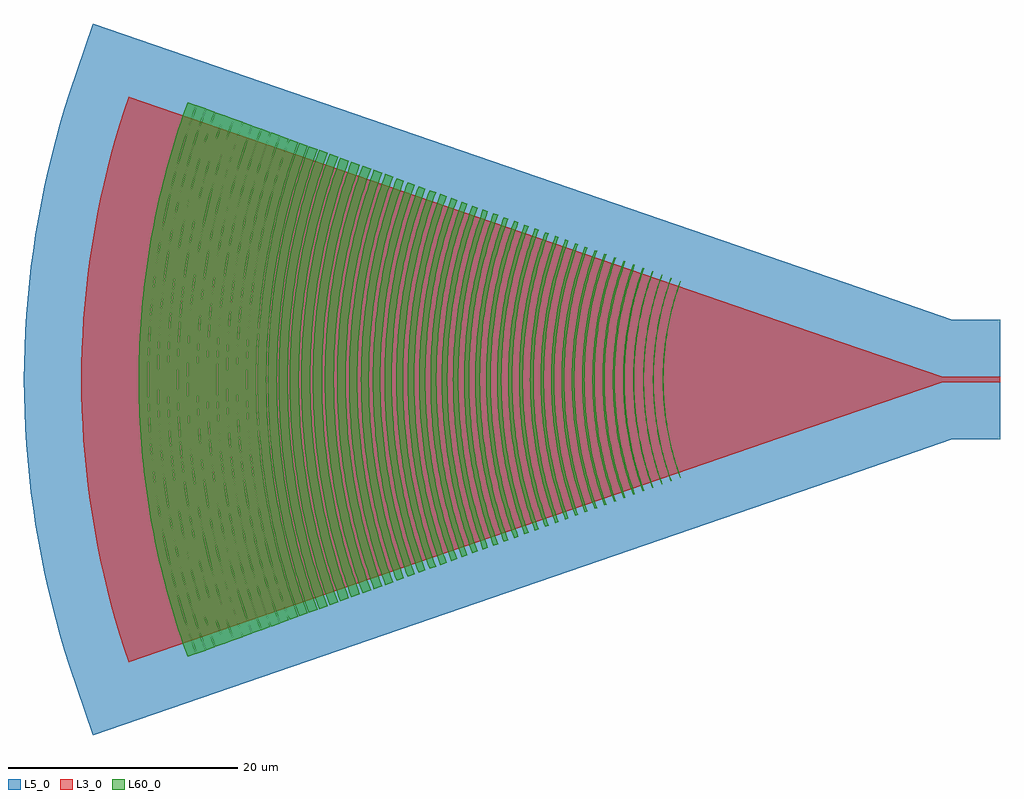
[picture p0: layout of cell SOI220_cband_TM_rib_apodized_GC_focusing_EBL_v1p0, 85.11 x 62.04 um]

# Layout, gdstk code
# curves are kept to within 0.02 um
import gdstk
lib = gdstk.Library(unit=1e-6, precision=1e-09)
def P(c, l, *ps):  # polygons
    for p in ps: c.add(gdstk.Polygon(p, *l))
L3_0 = (3, 0)
L5_0 = (5, 0)
L60_0 = (60, 0)

soi220_cband_tm_rib_apod = lib.new_cell('SOI220_cband_TM_rib_apodized_GC_focusing_EBL_v1p0')
P(soi220_cband_tm_rib_apod, L3_0, [(-75.984,-24.667),(-76.801,-22.152),(-77.53,-19.609),(-78.17,-17.043),(-78.72,-14.457),(-78.961,-13.156),(-79.375,-10.544),(-79.697,-7.92),(-79.824,-6.603),(-80.008,-3.965),(-80.066,-2.644),(-80.112,0),(-80.066,2.644),(-80.008,3.965),(-79.824,6.603),(-79.697,7.92),(-79.375,10.544),(-78.961,13.156),(-78.72,14.457),(-78.17,17.043),(-77.53,19.609),(-76.801,22.152),(-75.984,24.667),(-5,0.225),(0,0.225),(0,-0.225),(-5,-0.225)])
P(soi220_cband_tm_rib_apod, L5_0, [(-79.084,-31.022),(-79.137,-30.996),(-81.16,-24.958),(-81.984,-22.262),(-82.713,-19.539),(-83.042,-18.168),(-83.628,-15.412),(-84.118,-12.635),(-84.327,-11.24),(-84.67,-8.444),(-84.805,-7.038),(-85.001,-4.228),(-85.063,-2.818),(-85.112,0),(-85.063,2.818),(-85.001,4.228),(-84.805,7.038),(-84.67,8.444),(-84.327,11.24),(-84.118,12.635),(-83.628,15.412),(-83.042,18.168),(-82.713,19.539),(-81.984,22.262),(-81.16,24.958),(-79.137,30.996),(-79.084,31.022),(-4.163,5.225),(0,5.225),(0,-5.225),(-4.163,-5.225)])
P(soi220_cband_tm_rib_apod, L60_0, [(-27.895,-8.571),(-28.042,-8.159),(-28.247,-7.536),(-28.437,-6.908),(-28.553,-6.486),(-28.813,-5.424),(-28.947,-4.781),(-29.026,-4.351),(-29.131,-3.704),(-29.221,-3.054),(-29.312,-2.184),(-29.383,-1.093),(-29.407,0),(-29.383,1.093),(-29.312,2.184),(-29.221,3.054),(-29.131,3.704),(-29.026,4.351),(-28.947,4.781),(-28.813,5.424),(-28.553,6.486),(-28.437,6.908),(-28.247,7.536),(-28.042,8.159),(-27.895,8.571),(-27.839,8.551),(-28.055,7.933),(-28.255,7.309),(-28.438,6.681),(-28.604,6.048),(-28.801,5.198),(-29.004,4.126),(-29.161,3.047),(-29.252,2.179),(-29.323,1.09),(-29.347,0),(-29.323,-1.09),(-29.252,-2.179),(-29.161,-3.047),(-29.004,-4.126),(-28.801,-5.198),(-28.604,-6.048),(-28.438,-6.681),(-28.255,-7.309),(-28.055,-7.933),(-27.839,-8.551)],
  [(-28.702,-8.864),(-28.925,-8.224),(-29.064,-7.793),(-29.197,-7.361),(-29.381,-6.707),(-29.65,-5.609),(-29.744,-5.167),(-29.87,-4.5),(-29.945,-4.054),(-30.042,-3.383),(-30.098,-2.934),(-30.166,-2.259),(-30.216,-1.583),(-30.239,-1.131),(-30.255,-0.679),(-30.264,0),(-30.255,0.679),(-30.239,1.131),(-30.216,1.583),(-30.166,2.259),(-30.098,2.934),(-30.042,3.383),(-29.945,4.054),(-29.87,4.5),(-29.744,5.167),(-29.65,5.609),(-29.381,6.707),(-29.197,7.361),(-29.064,7.793),(-28.925,8.224),(-28.702,8.864),(-28.645,8.844),(-28.868,8.205),(-29.074,7.56),(-29.264,6.91),(-29.436,6.255),(-29.685,5.155),(-29.849,4.268),(-29.983,3.375),(-30.106,2.254),(-30.156,1.579),(-30.179,1.128),(-30.195,0.677),(-30.204,0),(-30.195,-0.677),(-30.179,-1.128),(-30.156,-1.579),(-30.106,-2.254),(-29.983,-3.375),(-29.849,-4.268),(-29.685,-5.155),(-29.436,-6.255),(-29.264,-6.91),(-29.074,-7.56),(-28.868,-8.205),(-28.645,-8.844)],
  [(-29.496,-9.153),(-29.726,-8.492),(-29.87,-8.047),(-30.073,-7.377),(-30.197,-6.926),(-30.314,-6.475),(-30.475,-5.792),(-30.572,-5.336),(-30.702,-4.647),(-30.815,-3.956),(-30.88,-3.493),(-30.963,-2.797),(-31.007,-2.332),(-31.044,-1.867),(-31.084,-1.168),(-31.1,-0.701),(-31.109,0),(-31.1,0.701),(-31.084,1.168),(-31.044,1.867),(-31.007,2.332),(-30.963,2.797),(-30.88,3.493),(-30.815,3.956),(-30.702,4.647),(-30.572,5.336),(-30.475,5.792),(-30.314,6.475),(-30.197,6.926),(-30.073,7.377),(-29.87,8.047),(-29.726,8.492),(-29.496,9.153),(-29.439,9.133),(-29.669,8.473),(-29.882,7.807),(-30.078,7.136),(-30.256,6.46),(-30.365,6.007),(-30.513,5.324),(-30.683,4.407),(-30.756,3.947),(-30.85,3.254),(-30.903,2.791),(-30.967,2.095),(-31.024,1.165),(-31.04,0.699),(-31.049,0),(-31.045,-0.466),(-31.024,-1.165),(-30.967,-2.095),(-30.903,-2.791),(-30.85,-3.254),(-30.756,-3.947),(-30.683,-4.407),(-30.513,-5.324),(-30.365,-6.007),(-30.256,-6.46),(-30.078,-7.136),(-29.882,-7.807),(-29.669,-8.473),(-29.439,-9.133)],
  [(-30.317,-9.453),(-30.705,-8.31),(-31.042,-7.153),(-31.329,-5.982),(-31.564,-4.8),(-31.747,-3.607),(-31.879,-2.408),(-31.958,-1.206),(-31.984,0),(-31.958,1.206),(-31.879,2.408),(-31.747,3.607),(-31.564,4.8),(-31.329,5.982),(-31.042,7.153),(-30.705,8.31),(-30.317,9.453),(-30.238,9.424),(-30.625,8.285),(-30.961,7.131),(-31.247,5.964),(-31.394,5.257),(-31.522,4.548),(-31.695,3.358),(-31.815,2.162),(-31.874,1.202),(-31.9,0),(-31.874,-1.202),(-31.815,-2.162),(-31.695,-3.358),(-31.522,-4.548),(-31.394,-5.257),(-31.247,-5.964),(-30.961,-7.131),(-30.625,-8.285),(-30.238,-9.424)],
  [(-31.146,-9.754),(-31.546,-8.576),(-31.895,-7.381),(-32.19,-6.173),(-32.433,-4.952),(-32.622,-3.722),(-32.758,-2.485),(-32.839,-1.244),(-32.866,0),(-32.839,1.244),(-32.758,2.485),(-32.622,3.722),(-32.433,4.952),(-32.19,6.173),(-31.895,7.381),(-31.546,8.576),(-31.146,9.754),(-31.022,9.709),(-31.494,8.3),(-31.83,7.108),(-32.114,5.902),(-32.385,4.441),(-32.552,3.213),(-32.646,2.227),(-32.717,0.991),(-32.734,0),(-32.717,-0.991),(-32.646,-2.227),(-32.552,-3.213),(-32.385,-4.441),(-32.114,-5.902),(-31.83,-7.108),(-31.494,-8.3),(-31.022,-9.709)],
  [(-31.988,-10.06),(-32.477,-8.601),(-32.759,-7.613),(-33.065,-6.367),(-33.315,-5.108),(-33.511,-3.84),(-33.65,-2.564),(-33.734,-1.283),(-33.762,0),(-33.734,1.283),(-33.65,2.564),(-33.511,3.84),(-33.315,5.108),(-33.065,6.367),(-32.759,7.613),(-32.477,8.601),(-31.988,10.06),(-31.832,10.004),(-32.318,8.552),(-32.664,7.323),(-32.957,6.081),(-33.236,4.576),(-33.378,3.565),(-33.506,2.295),(-33.568,1.276),(-33.596,0),(-33.578,-1.021),(-33.506,-2.295),(-33.378,-3.565),(-33.236,-4.576),(-32.957,-6.081),(-32.664,-7.323),(-32.318,-8.552),(-31.832,-10.004)],
  [(-32.829,-10.366),(-33.255,-9.115),(-33.624,-7.845),(-33.939,-6.56),(-34.196,-5.264),(-34.397,-3.956),(-34.541,-2.642),(-34.628,-1.322),(-34.657,0),(-34.628,1.322),(-34.541,2.642),(-34.397,3.956),(-34.196,5.264),(-33.939,6.56),(-33.624,7.845),(-33.255,9.115),(-32.829,10.366),(-32.659,10.305),(-33.16,8.809),(-33.516,7.544),(-33.818,6.264),(-34.105,4.713),(-34.282,3.411),(-34.383,2.364),(-34.458,1.051),(-34.476,0),(-34.458,-1.051),(-34.383,-2.364),(-34.282,-3.411),(-34.105,-4.713),(-33.818,-6.264),(-33.516,-7.544),(-33.16,-8.809),(-32.659,-10.305)],
  [(-33.657,-10.667),(-34.095,-9.379),(-34.475,-8.072),(-34.799,-6.751),(-35.064,-5.416),(-35.271,-4.071),(-35.419,-2.719),(-35.508,-1.361),(-35.538,0),(-35.508,1.361),(-35.419,2.719),(-35.271,4.071),(-35.064,5.416),(-34.799,6.751),(-34.475,8.072),(-34.095,9.379),(-33.657,10.667),(-33.485,10.605),(-33.92,9.324),(-34.367,7.764),(-34.733,6.182),(-34.973,4.851),(-35.156,3.51),(-35.259,2.433),(-35.336,1.082),(-35.355,0),(-35.336,-1.082),(-35.259,-2.433),(-35.156,-3.51),(-34.973,-4.851),(-34.733,-6.182),(-34.367,-7.764),(-33.92,-9.324),(-33.485,-10.605)],
  [(-34.501,-10.974),(-34.951,-9.65),(-35.342,-8.305),(-35.675,-6.946),(-35.949,-5.572),(-36.161,-4.188),(-36.314,-2.797),(-36.406,-1.4),(-36.436,0),(-36.406,1.4),(-36.314,2.797),(-36.161,4.188),(-35.949,5.572),(-35.675,6.946),(-35.342,8.305),(-34.951,9.65),(-34.501,10.974),(-34.311,10.906),(-34.841,9.323),(-35.218,7.984),(-35.594,6.357),(-35.841,4.988),(-36.029,3.61),(-36.136,2.502),(-36.215,1.113),(-36.234,0),(-36.215,-1.113),(-36.136,-2.502),(-36.029,-3.61),(-35.841,-4.988),(-35.594,-6.357),(-35.218,-7.984),(-34.841,-9.323),(-34.311,-10.906)],
  [(-35.347,-11.282),(-35.81,-9.92),(-36.212,-8.538),(-36.554,-7.14),(-36.835,-5.728),(-37.054,-4.307),(-37.21,-2.876),(-37.305,-1.439),(-37.336,0),(-37.305,1.439),(-37.21,2.876),(-37.054,4.307),(-36.835,5.728),(-36.554,7.14),(-36.212,8.538),(-35.81,9.92),(-35.347,11.282),(-35.135,11.206),(-35.595,9.852),(-36.067,8.203),(-36.395,6.812),(-36.708,5.125),(-36.867,3.993),(-37.01,2.571),(-37.08,1.429),(-37.111,0),(-37.08,-1.429),(-37.01,-2.571),(-36.867,-3.993),(-36.708,-5.125),(-36.395,-6.812),(-36.067,-8.203),(-35.595,-9.852),(-35.135,-11.206)],
  [(-36.193,-11.59),(-36.668,-10.19),(-37.081,-8.771),(-37.432,-7.335),(-37.721,-5.885),(-37.946,-4.423),(-38.107,-2.954),(-38.204,-1.479),(-38.236,0),(-38.204,1.479),(-38.107,2.954),(-37.946,4.423),(-37.721,5.885),(-37.432,7.335),(-37.081,8.771),(-36.668,10.19),(-36.193,11.59),(-35.967,11.509),(-36.526,9.838),(-36.924,8.425),(-37.261,6.996),(-37.582,5.264),(-37.78,3.809),(-37.892,2.64),(-37.976,1.174),(-37.996,0),(-37.976,-1.174),(-37.892,-2.64),(-37.78,-3.809),(-37.582,-5.264),(-37.261,-6.996),(-36.924,-8.425),(-36.526,-9.838),(-35.967,-11.509)],
  [(-37.04,-11.897),(-37.527,-10.461),(-37.951,-9.005),(-38.313,-7.529),(-38.608,-6.041),(-38.84,-4.541),(-39.005,-3.032),(-39.104,-1.517),(-39.137,0),(-39.104,1.517),(-39.005,3.032),(-38.84,4.541),(-38.608,6.041),(-38.313,7.529),(-37.951,9.005),(-37.527,10.461),(-37.04,11.897),(-36.794,11.81),(-37.278,10.383),(-37.776,8.645),(-38.183,6.884),(-38.497,5.104),(-38.654,3.909),(-38.77,2.709),(-38.855,1.205),(-38.876,0),(-38.855,-1.205),(-38.77,-2.709),(-38.654,-3.909),(-38.497,-5.104),(-38.183,-6.884),(-37.776,-8.645),(-37.278,-10.383),(-36.794,-11.81)],
  [(-37.903,-12.212),(-38.404,-10.738),(-38.84,-9.243),(-39.21,-7.729),(-39.515,-6.201),(-39.752,-4.661),(-39.921,-3.113),(-40.023,-1.557),(-40.057,0),(-40.023,1.557),(-39.921,3.113),(-39.752,4.661),(-39.515,6.201),(-39.21,7.729),(-38.84,9.243),(-38.404,10.738),(-37.903,12.212),(-37.639,12.117),(-38.136,10.654),(-38.648,8.871),(-39.065,7.063),(-39.387,5.237),(-39.582,3.703),(-39.69,2.471),(-39.754,1.236),(-39.776,0),(-39.754,-1.236),(-39.69,-2.471),(-39.582,-3.703),(-39.387,-5.237),(-39.065,-7.063),(-38.648,-8.871),(-38.136,-10.654),(-37.639,-12.117)],
  [(-38.778,-12.53),(-39.292,-11.018),(-39.738,-9.483),(-40.119,-7.93),(-40.43,-6.362),(-40.673,-4.783),(-40.848,-3.193),(-40.952,-1.599),(-40.987,0),(-40.952,1.599),(-40.848,3.193),(-40.673,4.783),(-40.43,6.362),(-40.119,7.93),(-39.738,9.483),(-39.292,11.018),(-38.778,12.53),(-38.485,12.425),(-39.089,10.622),(-39.597,8.789),(-40.009,6.932),(-40.277,5.37),(-40.477,3.797),(-40.588,2.534),(-40.654,1.268),(-40.676,0),(-40.654,-1.268),(-40.588,-2.534),(-40.477,-3.797),(-40.277,-5.37),(-40.009,-6.932),(-39.597,-8.789),(-39.089,-10.622),(-38.485,-12.425)],
  [(-39.669,-12.855),(-40.196,-11.303),(-40.654,-9.728),(-41.044,-8.136),(-41.364,-6.527),(-41.613,-4.906),(-41.792,-3.276),(-41.9,-1.639),(-41.935,0),(-41.9,1.639),(-41.792,3.276),(-41.613,4.906),(-41.364,6.527),(-41.044,8.136),(-40.654,9.728),(-40.196,11.303),(-39.669,12.855),(-39.358,12.743),(-39.881,11.204),(-40.418,9.329),(-40.857,7.428),(-41.196,5.507),(-41.366,4.218),(-41.49,2.923),(-41.57,1.625),(-41.605,0),(-41.57,-1.625),(-41.49,-2.923),(-41.366,-4.218),(-41.196,-5.507),(-40.857,-7.428),(-40.418,-9.329),(-39.881,-11.204),(-39.358,-12.743)],
  [(-40.567,-13.182),(-41.108,-11.59),(-41.578,-9.976),(-41.977,-8.343),(-42.306,-6.692),(-42.561,-5.031),(-42.745,-3.359),(-42.855,-1.681),(-42.891,0),(-42.855,1.681),(-42.745,3.359),(-42.561,5.031),(-42.306,6.692),(-41.977,8.343),(-41.578,9.976),(-41.108,11.59),(-40.567,13.182),(-40.232,13.061),(-40.768,11.483),(-41.319,9.562),(-41.768,7.613),(-42.116,5.645),(-42.29,4.323),(-42.442,2.664),(-42.512,1.333),(-42.535,0),(-42.512,-1.333),(-42.442,-2.664),(-42.29,-4.323),(-42.116,-5.645),(-41.768,-7.613),(-41.319,-9.562),(-40.768,-11.483),(-40.232,-13.061)],
  [(-41.47,-13.511),(-42.024,-11.879),(-42.506,-10.224),(-42.915,-8.55),(-43.252,-6.86),(-43.514,-5.156),(-43.702,-3.443),(-43.815,-1.724),(-43.852,0),(-43.815,1.724),(-43.702,3.443),(-43.514,5.156),(-43.252,6.86),(-42.915,8.55),(-42.506,10.224),(-42.024,11.879),(-41.47,13.511),(-41.116,13.383),(-41.665,11.766),(-42.23,9.797),(-42.69,7.801),(-43.046,5.784),(-43.262,4.09),(-43.381,2.73),(-43.452,1.366),(-43.476,0),(-43.452,-1.366),(-43.381,-2.73),(-43.262,-4.09),(-43.046,-5.784),(-42.69,-7.801),(-42.23,-9.797),(-41.665,-11.766),(-41.116,-13.383)],
  [(-42.371,-13.837),(-42.938,-12.168),(-43.432,-10.472),(-43.851,-8.757),(-44.195,-7.026),(-44.464,-5.281),(-44.657,-3.526),(-44.772,-1.766),(-44.81,0),(-44.772,1.766),(-44.657,3.526),(-44.464,5.281),(-44.195,7.026),(-43.851,8.757),(-43.432,10.472),(-42.938,12.168),(-42.371,13.837),(-41.999,13.704),(-42.561,12.049),(-43.139,10.032),(-43.611,7.988),(-43.975,5.922),(-44.196,4.188),(-44.317,2.795),(-44.391,1.398),(-44.415,0),(-44.391,-1.398),(-44.317,-2.795),(-44.196,-4.188),(-43.975,-5.922),(-43.611,-7.988),(-43.139,-10.032),(-42.561,-12.049),(-41.999,-13.704)],
  [(-43.271,-14.165),(-43.852,-12.456),(-44.358,-10.721),(-44.787,-8.965),(-45.14,-7.193),(-45.414,-5.406),(-45.611,-3.611),(-45.73,-1.807),(-45.769,0),(-45.73,1.807),(-45.611,3.611),(-45.414,5.406),(-45.14,7.193),(-44.787,8.965),(-44.358,10.721),(-43.852,12.456),(-43.271,14.165),(-42.878,14.024),(-43.453,12.33),(-44.045,10.267),(-44.528,8.175),(-44.901,6.061),(-45.087,4.642),(-45.225,3.217),(-45.312,1.789),(-45.351,0),(-45.312,-1.789),(-45.225,-3.217),(-45.087,-4.642),(-44.901,-6.061),(-44.528,-8.175),(-44.045,-10.267),(-43.453,-12.33),(-42.878,-14.024)],
  [(-44.177,-14.496),(-44.772,-12.746),(-45.289,-10.97),(-45.729,-9.173),(-46.089,-7.36),(-46.37,-5.532),(-46.571,-3.695),(-46.693,-1.849),(-46.733,0),(-46.693,1.849),(-46.571,3.695),(-46.37,5.532),(-46.089,7.36),(-45.729,9.173),(-45.289,10.97),(-44.772,12.746),(-44.177,14.496),(-43.761,14.346),(-44.458,12.263),(-45.045,10.147),(-45.52,8.003),(-45.883,5.837),(-46.061,4.384),(-46.189,2.926),(-46.265,1.464),(-46.291,0),(-46.265,-1.464),(-46.189,-2.926),(-46.061,-4.384),(-45.883,-5.837),(-45.52,-8.003),(-45.045,-10.147),(-44.458,-12.263),(-43.761,-14.346)],
  [(-45.088,-14.827),(-45.696,-13.038),(-46.226,-11.221),(-46.675,-9.384),(-47.044,-7.529),(-47.332,-5.659),(-47.538,-3.779),(-47.662,-1.892),(-47.703,0),(-47.662,1.892),(-47.538,3.779),(-47.332,5.659),(-47.044,7.529),(-46.675,9.384),(-46.226,11.221),(-45.696,13.038),(-45.088,14.827),(-44.649,14.669),(-45.251,12.897),(-45.775,11.1),(-46.219,9.283),(-46.584,7.448),(-46.869,5.598),(-47.073,3.738),(-47.195,1.871),(-47.236,0),(-47.195,-1.871),(-47.073,-3.738),(-46.869,-5.598),(-46.584,-7.448),(-46.219,-9.283),(-45.775,-11.1),(-45.251,-12.897),(-44.649,-14.669)],
  [(-46.007,-15.16),(-46.628,-13.331),(-47.169,-11.475),(-47.629,-9.596),(-48.006,-7.699),(-48.301,-5.786),(-48.511,-3.864),(-48.638,-1.933),(-48.68,0),(-48.638,1.933),(-48.511,3.864),(-48.301,5.786),(-48.006,7.699),(-47.629,9.596),(-47.169,11.475),(-46.628,13.331),(-46.007,15.16),(-45.543,14.994),(-46.158,13.183),(-46.693,11.347),(-47.148,9.489),(-47.521,7.613),(-47.812,5.722),(-48.02,3.821),(-48.145,1.912),(-48.187,0),(-48.145,-1.912),(-48.02,-3.821),(-47.812,-5.722),(-47.521,-7.613),(-47.148,-9.489),(-46.693,-11.347),(-46.158,-13.183),(-45.543,-14.994)],
  [(-46.93,-15.498),(-47.566,-13.628),(-48.119,-11.728),(-48.589,-9.808),(-48.974,-7.869),(-49.276,-5.915),(-49.491,-3.949),(-49.62,-1.977),(-49.663,0),(-49.62,1.977),(-49.491,3.949),(-49.276,5.915),(-48.974,7.869),(-48.589,9.808),(-48.119,11.728),(-47.566,13.628),(-46.93,15.498),(-46.442,15.321),(-47.071,13.471),(-47.618,11.594),(-48.082,9.696),(-48.463,7.779),(-48.761,5.847),(-48.974,3.904),(-49.101,1.954),(-49.144,0),(-49.101,-1.954),(-48.974,-3.904),(-48.761,-5.847),(-48.463,-7.779),(-48.082,-9.696),(-47.618,-11.594),(-47.071,-13.471),(-46.442,-15.321)],
  [(-47.861,-15.836),(-48.51,-13.925),(-49.076,-11.985),(-49.555,-10.022),(-49.95,-8.04),(-50.257,-6.044),(-50.477,-4.036),(-50.608,-2.02),(-50.653,0),(-50.608,2.02),(-50.477,4.036),(-50.257,6.044),(-49.95,8.04),(-49.555,10.022),(-49.076,11.985),(-48.51,13.925),(-47.861,15.836),(-47.347,15.651),(-47.989,13.76),(-48.548,11.844),(-49.022,9.904),(-49.412,7.946),(-49.716,5.973),(-49.933,3.988),(-50.063,1.996),(-50.107,0),(-50.063,-1.996),(-49.933,-3.988),(-49.716,-5.973),(-49.412,-7.946),(-49.022,-9.904),(-48.548,-11.844),(-47.989,-13.76),(-47.347,-15.651)],
  [(-48.799,-16.177),(-49.461,-14.225),(-50.039,-12.244),(-50.529,-10.239),(-50.932,-8.214),(-51.246,-6.174),(-51.471,-4.123),(-51.606,-2.063),(-51.651,0),(-51.606,2.063),(-51.471,4.123),(-51.246,6.174),(-50.932,8.214),(-50.529,10.239),(-50.039,12.244),(-49.461,14.225),(-48.799,16.177),(-48.259,15.983),(-48.914,14.052),(-49.485,12.095),(-49.969,10.114),(-50.367,8.115),(-50.677,6.099),(-50.899,4.073),(-51.033,2.038),(-51.077,0),(-51.033,-2.038),(-50.899,-4.073),(-50.677,-6.099),(-50.367,-8.115),(-49.969,-10.114),(-49.485,-12.095),(-48.914,-14.052),(-48.259,-15.983)],
  [(-49.743,-16.521),(-50.42,-14.527),(-51.01,-12.503),(-51.511,-10.456),(-51.922,-8.389),(-52.243,-6.305),(-52.472,-4.211),(-52.61,-2.107),(-52.656,0),(-52.61,2.107),(-52.472,4.211),(-52.243,6.305),(-51.922,8.389),(-51.511,10.456),(-51.01,12.503),(-50.42,14.527),(-49.743,16.521),(-49.177,16.317),(-49.846,14.346),(-50.428,12.347),(-50.923,10.326),(-51.329,8.284),(-51.646,6.227),(-51.872,4.158),(-52.009,2.081),(-52.054,0),(-52.009,-2.081),(-51.872,-4.158),(-51.646,-6.227),(-51.329,-8.284),(-50.923,-10.326),(-50.428,-12.347),(-49.846,-14.346),(-49.177,-16.317)],
  [(-50.698,-16.867),(-51.388,-14.832),(-51.99,-12.766),(-52.502,-10.676),(-52.921,-8.564),(-53.249,-6.439),(-53.484,-4.299),(-53.624,-2.152),(-53.671,0),(-53.624,2.152),(-53.484,4.299),(-53.249,6.439),(-52.921,8.564),(-52.502,10.676),(-51.99,12.766),(-51.388,14.832),(-50.698,16.867),(-50.103,16.654),(-50.785,14.642),(-51.38,12.602),(-51.885,10.539),(-52.299,8.455),(-52.622,6.356),(-52.854,4.244),(-52.993,2.124),(-53.039,0),(-52.993,-2.124),(-52.854,-4.244),(-52.622,-6.356),(-52.299,-8.455),(-51.885,-10.539),(-51.38,-12.602),(-50.785,-14.642),(-50.103,-16.654)],
  [(-51.659,-17.216),(-52.363,-15.14),(-52.979,-13.03),(-53.5,-10.897),(-53.929,-8.743),(-54.263,-6.572),(-54.502,-4.388),(-54.646,-2.196),(-54.694,0),(-54.646,2.196),(-54.502,4.388),(-54.263,6.572),(-53.929,8.743),(-53.5,10.897),(-52.979,13.03),(-52.363,15.14),(-51.659,17.216),(-51.036,16.993),(-51.732,14.941),(-52.339,12.859),(-52.854,10.754),(-53.277,8.628),(-53.607,6.485),(-53.843,4.33),(-53.985,2.167),(-54.032,0),(-53.985,-2.167),(-53.843,-4.33),(-53.607,-6.485),(-53.277,-8.628),(-52.854,-10.754),(-52.339,-12.859),(-51.732,-14.941),(-51.036,-16.993)],
  [(-52.627,-17.57),(-53.347,-15.45),(-53.974,-13.298),(-54.508,-11.119),(-54.944,-8.922),(-55.285,-6.706),(-55.529,-4.478),(-55.676,-2.241),(-55.725,0),(-55.676,2.241),(-55.529,4.478),(-55.285,6.706),(-54.944,8.922),(-54.508,11.119),(-53.974,13.298),(-53.347,15.45),(-52.627,17.57),(-51.976,17.336),(-52.687,15.242),(-53.306,13.119),(-53.832,10.97),(-54.263,8.802),(-54.599,6.616),(-54.84,4.418),(-54.985,2.211),(-55.033,0),(-54.985,-2.211),(-54.84,-4.418),(-54.599,-6.616),(-54.263,-8.802),(-53.832,-10.97),(-53.306,-13.119),(-52.687,-15.242),(-51.976,-17.336)],
  [(-53.605,-17.926),(-54.34,-15.762),(-54.98,-13.567),(-55.524,-11.345),(-55.97,-9.103),(-56.318,-6.843),(-56.566,-4.569),(-56.716,-2.287),(-56.766,0),(-56.716,2.287),(-56.566,4.569),(-56.318,6.843),(-55.97,9.103),(-55.524,11.345),(-54.98,13.567),(-54.34,15.762),(-53.605,17.926),(-52.924,17.681),(-53.649,15.545),(-54.281,13.38),(-54.817,11.189),(-55.257,8.977),(-55.6,6.748),(-55.845,4.506),(-55.993,2.255),(-56.042,0),(-55.993,-2.255),(-55.845,-4.506),(-55.6,-6.748),(-55.257,-8.977),(-54.817,-11.189),(-54.281,-13.38),(-53.649,-15.545),(-52.924,-17.681)],
  [(-54.593,-18.284),(-55.341,-16.079),(-55.994,-13.839),(-56.548,-11.573),(-57.003,-9.285),(-57.359,-6.979),(-57.612,-4.661),(-57.765,-2.332),(-57.816,0),(-57.765,2.332),(-57.612,4.661),(-57.359,6.979),(-57.003,9.285),(-56.548,11.573),(-55.994,13.839),(-55.341,16.079),(-54.593,18.284),(-53.881,18.029),(-54.62,15.851),(-55.264,13.643),(-55.81,11.409),(-56.259,9.154),(-56.609,6.88),(-56.859,4.594),(-57.01,2.299),(-57.06,0),(-57.01,-2.299),(-56.859,-4.594),(-56.609,-6.88),(-56.259,-9.154),(-55.81,-11.409),(-55.264,-13.643),(-54.62,-15.851),(-53.881,-18.029)],
  [(-55.587,-18.647),(-56.351,-16.397),(-57.017,-14.113),(-57.582,-11.802),(-58.047,-9.469),(-58.408,-7.117),(-58.668,-4.752),(-58.823,-2.378),(-58.875,0),(-58.823,2.378),(-58.668,4.752),(-58.408,7.117),(-58.047,9.469),(-57.582,11.802),(-57.017,14.113),(-56.351,16.397),(-55.587,18.647),(-54.845,18.38),(-55.599,16.16),(-56.255,13.909),(-56.812,11.631),(-57.27,9.332),(-57.626,7.014),(-57.882,4.684),(-58.035,2.344),(-58.086,0),(-58.035,-2.344),(-57.882,-4.684),(-57.626,-7.014),(-57.27,-9.332),(-56.812,-11.631),(-56.255,-13.909),(-55.599,-16.16),(-54.845,-18.38)],
  [(-56.571,-19.003),(-57.349,-16.712),(-58.028,-14.384),(-58.604,-12.028),(-59.077,-9.65),(-59.445,-7.254),(-59.71,-4.843),(-59.868,-2.424),(-59.921,0),(-59.868,2.424),(-59.71,4.843),(-59.445,7.254),(-59.077,9.65),(-58.604,12.028),(-58.028,14.384),(-57.349,16.712),(-56.571,19.003),(-55.818,18.734),(-56.586,16.471),(-57.255,14.177),(-57.823,11.855),(-58.289,9.511),(-58.652,7.149),(-58.913,4.774),(-59.069,2.389),(-59.121,0),(-59.069,-2.389),(-58.913,-4.774),(-58.652,-7.149),(-58.289,-9.511),(-57.823,-11.855),(-57.255,-14.177),(-56.586,-16.471),(-55.818,-18.734)],
  [(-57.53,-19.354),(-58.323,-17.019),(-59.014,-14.648),(-59.6,-12.249),(-60.082,-9.828),(-60.458,-7.387),(-60.727,-4.933),(-60.888,-2.469),(-60.942,0),(-60.888,2.469),(-60.727,4.933),(-60.458,7.387),(-60.082,9.828),(-59.6,12.249),(-59.014,14.648),(-58.323,17.019),(-57.53,19.354),(-56.777,19.083),(-57.56,16.778),(-58.241,14.441),(-58.819,12.076),(-59.294,9.689),(-59.665,7.283),(-59.93,4.863),(-60.089,2.434),(-60.142,0),(-60.089,-2.434),(-59.93,-4.863),(-59.665,-7.283),(-59.294,-9.689),(-58.819,-12.076),(-58.241,-14.441),(-57.56,-16.778),(-56.777,-19.083)],
  [(-58.466,-19.695),(-59.273,-17.318),(-59.976,-14.906),(-60.573,-12.466),(-61.063,-10.001),(-61.445,-7.518),(-61.719,-5.019),(-61.883,-2.512),(-61.938,0),(-61.883,2.512),(-61.719,5.019),(-61.445,7.518),(-61.063,10.001),(-60.573,12.466),(-59.976,14.906),(-59.273,17.318),(-58.466,19.695),(-57.713,19.424),(-58.51,17.077),(-59.203,14.699),(-59.792,12.292),(-60.275,9.862),(-60.652,7.413),(-60.922,4.95),(-61.084,2.477),(-61.138,0),(-61.084,-2.477),(-60.922,-4.95),(-60.652,-7.413),(-60.275,-9.862),(-59.792,-12.292),(-59.203,-14.699),(-58.51,-17.077),(-57.713,-19.424)],
  [(-59.378,-20.025),(-60.198,-17.61),(-60.913,-15.157),(-61.52,-12.675),(-62.018,-10.169),(-62.407,-7.643),(-62.685,-5.104),(-62.852,-2.554),(-62.908,0),(-62.852,2.554),(-62.685,5.104),(-62.407,7.643),(-62.018,10.169),(-61.52,12.675),(-60.913,15.157),(-60.198,17.61),(-59.378,20.025),(-58.625,19.755),(-59.435,17.369),(-60.14,14.95),(-60.739,12.502),(-61.23,10.03),(-61.614,7.539),(-61.888,5.034),(-62.053,2.519),(-62.108,0),(-62.053,-2.519),(-61.888,-5.034),(-61.614,-7.539),(-61.23,-10.03),(-60.739,-12.502),(-60.14,-14.95),(-59.435,-17.369),(-58.625,-19.755)],
  [(-60.264,-20.348),(-61.097,-17.893),(-61.824,-15.401),(-62.44,-12.879),(-62.947,-10.333),(-63.342,-7.766),(-63.625,-5.185),(-63.794,-2.595),(-63.851,0),(-63.794,2.595),(-63.625,5.185),(-63.342,7.766),(-62.947,10.333),(-62.44,12.879),(-61.824,15.401),(-61.097,17.893),(-60.264,20.348),(-59.511,20.078),(-60.334,17.653),(-61.051,15.194),(-61.659,12.706),(-62.159,10.194),(-62.549,7.662),(-62.828,5.116),(-62.995,2.561),(-63.051,0),(-62.995,-2.561),(-62.828,-5.116),(-62.549,-7.662),(-62.159,-10.194),(-61.659,-12.706),(-61.051,-15.194),(-60.334,-17.653),(-59.511,-20.078)],
  [(-61.124,-20.66),(-61.97,-18.169),(-62.708,-15.638),(-63.334,-13.077),(-63.848,-10.491),(-64.249,-7.887),(-64.536,-5.265),(-64.708,-2.636),(-64.766,0),(-64.708,2.636),(-64.536,5.265),(-64.249,7.887),(-63.848,10.491),(-63.334,13.077),(-62.708,15.638),(-61.97,18.169),(-61.124,20.66),(-60.371,20.391),(-61.207,17.928),(-61.935,15.431),(-62.553,12.904),(-63.06,10.353),(-63.456,7.782),(-63.739,5.196),(-63.909,2.601),(-63.966,0),(-63.909,-2.601),(-63.739,-5.196),(-63.456,-7.782),(-63.06,-10.353),(-62.553,-12.904),(-61.935,-15.431),(-61.207,-17.928),(-60.371,-20.391)],
  [(-61.956,-20.965),(-62.815,-18.434),(-63.563,-15.868),(-64.199,-13.269),(-64.721,-10.646),(-65.127,-8.002),(-65.419,-5.343),(-65.593,-2.674),(-65.652,0),(-65.593,2.674),(-65.419,5.343),(-65.127,8.002),(-64.721,10.646),(-64.199,13.269),(-63.563,15.868),(-62.815,18.434),(-61.956,20.965),(-61.203,20.694),(-62.052,18.194),(-62.79,15.66),(-63.418,13.096),(-63.933,10.507),(-64.334,7.897),(-64.622,5.273),(-64.794,2.639),(-64.852,0),(-64.794,-2.639),(-64.622,-5.273),(-64.334,-7.897),(-63.933,-10.507),(-63.418,-13.096),(-62.79,-15.66),(-62.052,-18.194),(-61.203,-20.694)],
  [(-62.764,-21.258),(-63.635,-18.693),(-64.394,-16.089),(-65.038,-13.455),(-65.568,-10.795),(-65.98,-8.115),(-66.275,-5.418),(-66.453,-2.712),(-66.512,0),(-66.453,2.712),(-66.275,5.418),(-65.98,8.115),(-65.568,10.795),(-65.038,13.455),(-64.394,16.089),(-63.635,18.693),(-62.764,21.258),(-62.011,20.988),(-62.872,18.453),(-63.621,15.882),(-64.257,13.282),(-64.78,10.656),(-65.187,8.01),(-65.478,5.348),(-65.654,2.677),(-65.712,0),(-65.654,-2.677),(-65.478,-5.348),(-65.187,-8.01),(-64.78,-10.656),(-64.257,-13.282),(-63.621,-15.882),(-62.872,-18.453),(-62.011,-20.988)],
  [(-63.572,-21.553),(-64.455,-18.952),(-65.225,-16.312),(-65.878,-13.641),(-66.415,-10.944),(-66.833,-8.227),(-67.132,-5.492),(-67.312,-2.749),(-67.372,0),(-67.312,2.749),(-67.132,5.492),(-66.833,8.227),(-66.415,10.944),(-65.878,13.641),(-65.225,16.312),(-64.455,18.952),(-63.572,21.553),(-62.819,21.282),(-63.692,18.711),(-64.452,16.105),(-65.097,13.468),(-65.627,10.805),(-66.04,8.122),(-66.335,5.423),(-66.513,2.714),(-66.572,0),(-66.513,-2.714),(-66.335,-5.423),(-66.04,-8.122),(-65.627,-10.805),(-65.097,-13.468),(-64.452,-16.105),(-63.692,-18.711),(-62.819,-21.282)],
  [(-64.381,-21.846),(-65.275,-19.211),(-66.055,-16.535),(-66.718,-13.827),(-67.262,-11.094),(-67.685,-8.339),(-67.989,-5.568),(-68.171,-2.787),(-68.232,0),(-68.171,2.787),(-67.989,5.568),(-67.685,8.339),(-67.262,11.094),(-66.718,13.827),(-66.055,16.535),(-65.275,19.211),(-64.381,21.846),(-63.628,21.576),(-64.512,18.97),(-65.282,16.328),(-65.937,13.654),(-66.474,10.955),(-66.892,8.234),(-67.192,5.498),(-67.372,2.752),(-67.432,0),(-67.372,-2.752),(-67.192,-5.498),(-66.892,-8.234),(-66.474,-10.955),(-65.937,-13.654),(-65.282,-16.328),(-64.512,-18.97),(-63.628,-21.576)],
  [(-65.189,-22.14),(-66.095,-19.47),(-66.886,-16.757),(-67.557,-14.014),(-68.109,-11.243),(-68.538,-8.45),(-68.846,-5.643),(-69.03,-2.824),(-69.092,0),(-69.03,2.824),(-68.846,5.643),(-68.538,8.45),(-68.109,11.243),(-67.557,14.014),(-66.886,16.757),(-66.095,19.47),(-65.189,22.14),(-64.436,21.87),(-65.332,19.229),(-66.113,16.55),(-66.776,13.84),(-67.321,11.104),(-67.745,8.346),(-68.049,5.573),(-68.231,2.789),(-68.292,0),(-68.231,-2.789),(-68.049,-5.573),(-67.745,-8.346),(-67.321,-11.104),(-66.776,-13.84),(-66.113,-16.55),(-65.332,-19.229),(-64.436,-21.87)],
  [(-65.997,-22.435),(-66.916,-19.727),(-67.717,-16.98),(-68.397,-14.199),(-68.955,-11.392),(-69.391,-8.564),(-69.702,-5.717),(-69.889,-2.862),(-69.952,0),(-69.889,2.862),(-69.702,5.717),(-69.391,8.564),(-68.955,11.392),(-68.397,14.199),(-67.717,16.98),(-66.916,19.727),(-65.997,22.435),(-65.244,22.165),(-66.153,19.487),(-66.944,16.773),(-67.616,14.026),(-68.167,11.253),(-68.598,8.459),(-68.905,5.648),(-69.09,2.827),(-69.152,0),(-69.09,-2.827),(-68.905,-5.648),(-68.598,-8.459),(-68.167,-11.253),(-67.616,-14.026),(-66.944,-16.773),(-66.153,-19.487),(-65.244,-22.165)],
  [(-66.805,-22.729),(-67.736,-19.987),(-68.548,-17.202),(-69.236,-14.386),(-69.802,-11.542),(-70.243,-8.676),(-70.559,-5.793),(-70.749,-2.899),(-70.812,0),(-70.749,2.899),(-70.559,5.793),(-70.243,8.676),(-69.802,11.542),(-69.236,14.386),(-68.548,17.202),(-67.736,19.987),(-66.805,22.729),(-66.052,22.459),(-66.973,19.746),(-67.775,16.995),(-68.455,14.213),(-69.014,11.403),(-69.45,8.571),(-69.762,5.723),(-69.95,2.864),(-70.012,0),(-69.95,-2.864),(-69.762,-5.723),(-69.45,-8.571),(-69.014,-11.403),(-68.455,-14.213),(-67.775,-16.995),(-66.973,-19.746),(-66.052,-22.459)],
  [(-67.613,-23.023),(-68.556,-20.245),(-69.378,-17.425),(-70.076,-14.572),(-70.649,-11.691),(-71.096,-8.787),(-71.416,-5.868),(-71.608,-2.936),(-71.672,0),(-71.608,2.936),(-71.416,5.868),(-71.096,8.787),(-70.649,11.691),(-70.076,14.572),(-69.378,17.425),(-68.556,20.245),(-67.613,23.023),(-66.86,22.753),(-67.793,20.004),(-68.605,17.218),(-69.295,14.399),(-69.861,11.552),(-70.303,8.683),(-70.619,5.798),(-70.809,2.902),(-70.872,0),(-70.809,-2.902),(-70.619,-5.798),(-70.303,-8.683),(-69.861,-11.552),(-69.295,-14.399),(-68.605,-17.218),(-67.793,-20.004),(-66.86,-22.753)],
  [(-68.421,-23.318),(-69.376,-20.504),(-70.209,-17.648),(-70.916,-14.758),(-71.496,-11.84),(-71.949,-8.901),(-72.273,-5.942),(-72.467,-2.974),(-72.532,0),(-72.467,2.974),(-72.273,5.942),(-71.949,8.901),(-71.496,11.84),(-70.916,14.758),(-70.209,17.648),(-69.376,20.504),(-68.421,23.318),(-67.668,23.047),(-68.613,20.263),(-69.436,17.441),(-70.135,14.585),(-70.708,11.701),(-71.156,8.796),(-71.476,5.873),(-71.668,2.939),(-71.732,0),(-71.668,-2.939),(-71.476,-5.873),(-71.156,-8.796),(-70.708,-11.701),(-70.135,-14.585),(-69.436,-17.441),(-68.613,-20.263),(-67.668,-23.047)],
  [(-69.229,-23.612),(-70.196,-20.762),(-71.04,-17.87),(-71.755,-14.944),(-72.343,-11.99),(-72.801,-9.012),(-73.129,-6.018),(-73.326,-3.012),(-73.392,0),(-73.326,3.012),(-73.129,6.018),(-72.801,9.012),(-72.343,11.99),(-71.755,14.944),(-71.04,17.87),(-70.196,20.762),(-69.229,23.612),(-68.476,23.341),(-69.433,20.522),(-70.267,17.663),(-70.974,14.771),(-71.555,11.851),(-72.008,8.908),(-72.332,5.948),(-72.527,2.977),(-72.592,0),(-72.527,-2.977),(-72.332,-5.948),(-72.008,-8.908),(-71.555,-11.851),(-70.974,-14.771),(-70.267,-17.663),(-69.433,-20.522),(-68.476,-23.341)],
  [(-70.037,-23.906),(-71.017,-21.02),(-71.87,-18.093),(-72.595,-15.13),(-73.19,-12.139),(-73.654,-9.125),(-73.986,-6.093),(-74.185,-3.049),(-74.252,0),(-74.185,3.049),(-73.986,6.093),(-73.654,9.125),(-73.19,12.139),(-72.595,15.13),(-71.87,18.093),(-71.017,21.02),(-70.037,23.906),(-69.284,23.635),(-70.254,20.78),(-71.097,17.886),(-71.814,14.957),(-72.402,12),(-72.861,9.02),(-73.189,6.023),(-73.386,3.014),(-73.452,0),(-73.386,-3.014),(-73.189,-6.023),(-72.861,-9.02),(-72.402,-12),(-71.814,-14.957),(-71.097,-17.886),(-70.254,-20.78),(-69.284,-23.635)],
  [(-70.846,-24.199),(-71.837,-21.28),(-72.701,-18.315),(-73.435,-15.316),(-74.037,-12.288),(-74.506,-9.236),(-74.843,-6.167),(-75.044,-3.087),(-75.112,0),(-75.044,3.087),(-74.843,6.167),(-74.506,9.236),(-74.037,12.288),(-73.435,15.316),(-72.701,18.315),(-71.837,21.28),(-70.846,24.199),(-70.093,23.929),(-71.074,21.039),(-71.928,18.108),(-72.654,15.143),(-73.249,12.149),(-73.713,9.132),(-74.046,6.098),(-74.245,3.052),(-74.312,0),(-74.245,-3.052),(-74.046,-6.098),(-73.713,-9.132),(-73.249,-12.149),(-72.654,-15.143),(-71.928,-18.108),(-71.074,-21.039),(-70.093,-23.929)])

lib.write_gds('SOI220_cband_TM_rib_apodized_GC_focusing_EBL_v1p0.gds')
